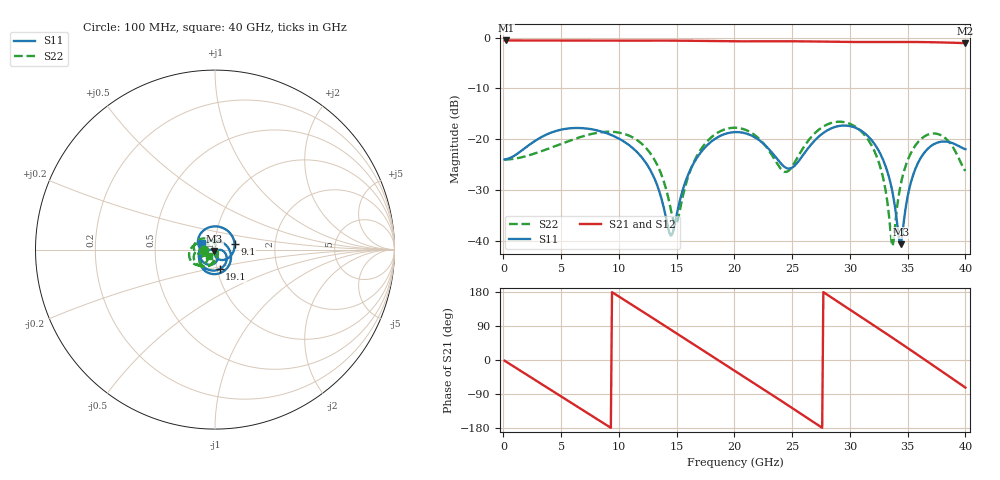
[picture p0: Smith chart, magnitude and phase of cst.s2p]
! X_s8x2_L1L3_bd_d200: L1→L3 back-drilled, drill Ø0.2, L2 plane removed: L3 exits above the top plane
! stackup: 8-layer 1.6 mm FR-4 without the L2 plane
! ports: 1, 2
! CST Studio Suite 2025.5 Release from 2025-05-30, time domain (FIT, hexahedral, PBA), 154800 mesh cells, 34 s
! mesh: {'lpw': 20, 'lpb': 20, 'minstep': 0.0, 'ratio': 20}; ports: port 1 (face); port 2 (face)
! interpolated from CST's 1001 samples to the case grid
# Hz S RI R 50
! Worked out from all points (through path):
!   400 points, 100 MHz to 40 GHz, reference 50 ohm
!   highest |S21| = -0.57 dB at 200 MHz (marker M1); lowest = -1.1 dB at 40 GHz (marker M2)
!   group delay of S21, straight-line fit = 54.9 ps
!   lowest |S11| = -40.6 dB at 34.4 GHz (marker M3), VSWR 1.02, Z = 49.6 - j0.85 ohm
!   |S11| at or under -10 dB: start of sweep to end of sweep
!   |S22| runs from -41.0 to -16.5 dB; largest |S21 - S12| = 0.0034
!   S11 on the Smith chart (normalised r, x): 100 MHz: 0.88, -0.00; 9.1 GHz: 1.24, +0.08; 19.1 GHz: 1.03, -0.23; 40 GHz: 0.86, +0.06
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1e8  -0.0636 -0.000293  0.9359 -0.0314  0.9355 -0.0314  -0.0634 -0.000689
2e8  -0.0638 -0.000574  0.9343 -0.0628  0.934 -0.0627  -0.0634 -0.00138
3.7e9  -0.0931 0.061  0.3015 -0.8858  0.3018 -0.886  -0.0769 -0.0208
6.8e9  0.0314 0.1252  -0.6105 -0.705  -0.6108 -0.7047  -0.1053 -0.0172
9.1e9  0.1092 0.0301  -0.9279 -0.0788  -0.9275 -0.0788  -0.1178 0.0163
1.34e10  0.0012 -0.0333  -0.185 0.9153  -0.1851 0.9158  -0.0191 0.0502
1.44e10  0.00581 -0.0103  0.1325 0.9238  0.1329 0.9241  0.00661 0.0221
1.49e10  0.0157 -0.00334  0.2877 0.887  0.2882 0.8871  0.0139 0.00338
1.66e10  0.058 -0.0214  0.7247 0.58  0.7247 0.5795  0.00155 -0.0639
1.91e10  0.0253 -0.1094  0.9058 -0.1636  0.9055 -0.1631  -0.0869 -0.0895
2.01e10  -0.0235 -0.1156  0.7973 -0.4563  0.7976 -0.4557  -0.1126 -0.0653
2.34e10  -0.0659 0.0257  -0.0766 -0.9161  -0.0771 -0.9167  -0.0658 -0.00143
2.46e10  -0.00287 0.0518  -0.4417 -0.8065  -0.4425 -0.8061  -0.0409 -0.026
2.67e10  0.0875 -0.0239  -0.865 -0.3009  -0.8641 -0.3004  -0.0671 -0.0835
2.88e10  0.0323 -0.1295  -0.8369 0.3538  -0.8369 0.3526  -0.1359 -0.06
3.11e10  -0.078 -0.09  -0.3242 0.8435  -0.3251 0.8446  -0.1129 0.027
3.26e10  -0.0704 -0.0214  0.1449 0.8923  0.1462 0.8934  -0.0449 0.0318
3.34e10  -0.0419 -0.00274  0.3895 0.8167  0.3912 0.8164  -0.0152 0.00802
3.37e10  -0.0298 -0.00109  0.4746 0.7706  0.4762 0.7698  -0.00787 -0.00427
3.44e10  -0.00372 -0.00856  0.6513 0.629  0.652 0.6273  -0.00118 -0.036
3.63e10  0.00507 -0.0703  0.9 0.0731  0.8977 0.0731  -0.0468 -0.093
4e10  -0.0724 0.0342  0.2603 -0.8423  0.2629 -0.8445  -0.0312 -0.0379
